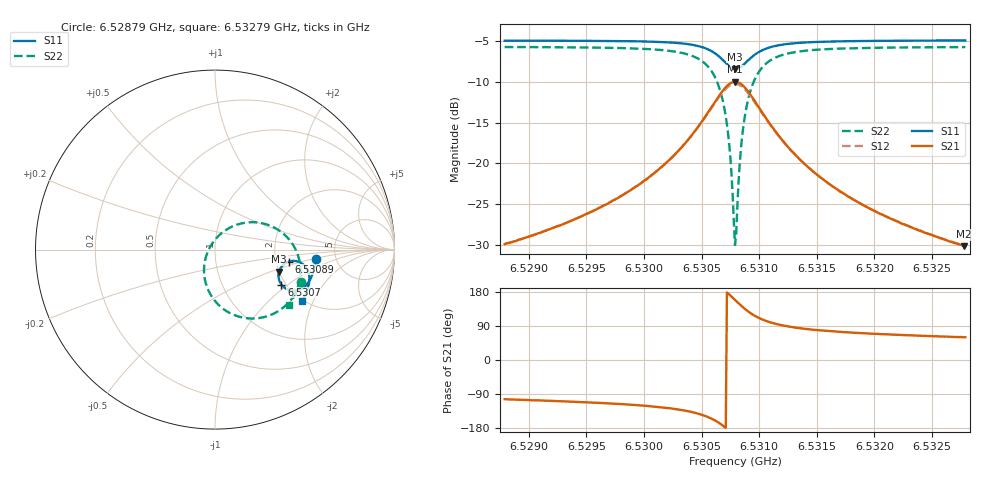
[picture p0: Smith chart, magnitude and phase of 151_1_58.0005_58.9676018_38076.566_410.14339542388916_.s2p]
#  HZ  S  RI  R  50.00
! Rohde & Schwarz Vector Network Analyzer
! Rohde-Schwarz,ZNB20-2Port,1311601062101988,3.16
! Created: UTC 3/21/2024, 12:57:01 AM
! freq[Hz]  re:S11  im:S11  re:S21  im:S21  re:S12  im:S12  re:S22  im:S22
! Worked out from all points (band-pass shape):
!   401 points, 6.52879 GHz to 6.53279 GHz, reference 50 ohm
!   highest |S21| = -10.01 dB at 6.53079 GHz (marker M1); lowest = -30.1 dB at 6.53278 GHz (marker M2)
!   |S21| within 3 dB of the highest: 6.530591 GHz to 6.530991 GHz (400.5 kHz wide, 0.00613 % of centre)
!   lowest |S11| = -8.5 dB at 6.53079 GHz (marker M3), VSWR 2.21, Z = 99.9 - j28.8 ohm
!   |S11| at or under -10 dB: nowhere
!   |S22| runs from -30.0 to -5.8 dB; largest |S21 - S12| = 0.013
!   S11 on the Smith chart (normalised r, x): 6.52879 GHz: 3.49, -0.53; 6.5307 GHz: 1.90, -0.90; 6.53089 GHz: 2.36, -0.38; 6.53279 GHz: 1.96, -1.66
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6.52879e9  0.5604 -0.0523  -0.00743 -0.0312  -0.00816 -0.0311  0.4816 -0.1825
6.52946e9  0.5512 -0.1089  -0.0171 -0.0444  -0.0182 -0.0441  0.4492 -0.2452
6.53013e9  0.524 -0.1773  -0.0517 -0.0763  -0.0539 -0.0749  0.365 -0.3344
6.53036e9  0.497 -0.2078  -0.0924 -0.0964  -0.0954 -0.0931  0.282 -0.3738
6.53053e9  0.4527 -0.2278  -0.1625 -0.1034  -0.1651 -0.0965  0.1525 -0.3785
6.53063e9  0.4067 -0.2229  -0.234 -0.0764  -0.2332 -0.0663  0.0325 -0.3194
6.5307e9  0.3703 -0.1951  -0.2871 -0.0167  -0.2808 -0.00601  -0.0446 -0.2081
6.53074e9  0.3566 -0.1666  -0.3035 0.0376  -0.2941 0.0463  -0.0614 -0.1149
6.53078e9  0.3549 -0.1321  -0.299 0.0999  -0.2875 0.1047  -0.0414 -0.014
6.53079e9  0.3568 -0.1235  -0.294 0.1152  -0.2822 0.119  -0.0301 0.01
6.5308e9  0.3596 -0.115  -0.2875 0.1298  -0.2758 0.1327  -0.0166 0.0327
6.53081e9  0.3634 -0.1069  -0.2797 0.1437  -0.268 0.1456  -0.00088 0.0539
6.53083e9  0.373 -0.0925  -0.2601 0.1686  -0.2493 0.1685  0.0354 0.0907
6.53085e9  0.3849 -0.0808  -0.2373 0.1887  -0.2274 0.1869  0.077 0.119
6.53089e9  0.4125 -0.0663  -0.1871 0.2127  -0.1799 0.2094  0.164 0.1491
6.53096e9  0.4568 -0.065  -0.1097 0.2154  -0.1058 0.2121  0.2944 0.1381
6.53106e9  0.496 -0.0867  -0.0426 0.1838  -0.0409 0.182  0.4022 0.0686
6.53121e9  0.5191 -0.1229  -0.00208 0.1361  -0.000842 0.1354  0.4614 -0.0291
6.53146e9  0.5256 -0.1666  0.0153 0.089  0.0164 0.0888  0.476 -0.1285
6.53213e9  0.5094 -0.2379  0.0179 0.0429  0.0187 0.0425  0.4475 -0.2462
6.53278e9  0.4858 -0.2879  0.0156 0.027  0.0162 0.0268  0.4138 -0.3054
6.53279e9  0.4853 -0.2887  0.0156 0.0271  0.0161 0.0268  0.4132 -0.3061
